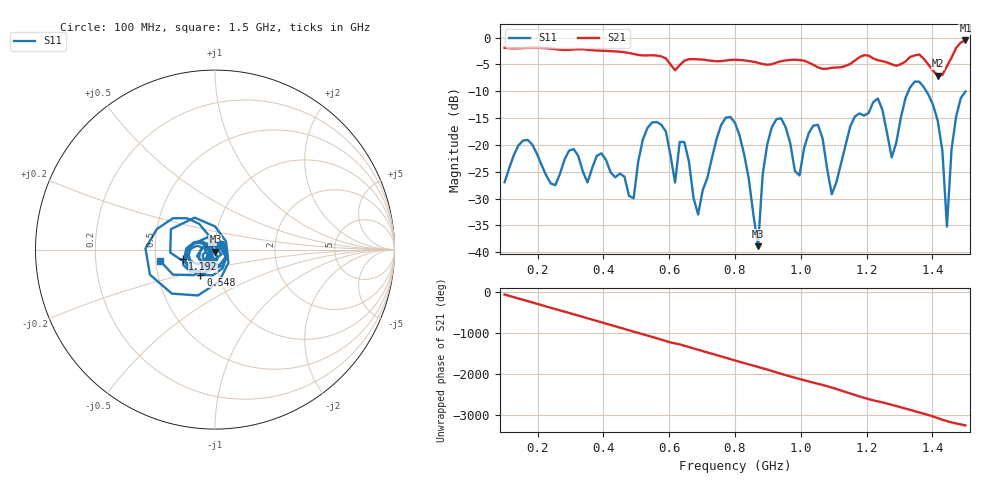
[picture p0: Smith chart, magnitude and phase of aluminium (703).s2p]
! NanoVNA-App
! Date: 2025-09-25 15:00:45
! Start: 100MHz Stop: 1,5GHz Points: 101
! S-Parameter data: F S11 S21 S12 S22
# Hz S RI R 50
!  Frequency  S11_Real  S11_Imag  S21_Real  S21_Imag  S12_Real  S12_Imag  S22_Real  S22_Imag
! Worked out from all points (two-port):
!   101 points, 100 MHz to 1.5 GHz, reference 50 ohm
!   highest |S21| = -0.55 dB at 1.5 GHz (marker M1); lowest = -7.1 dB at 1.416 GHz (marker M2)
!   |S21| within 3 dB of the highest: start of sweep to 576.8 MHz; 1.459 GHz to end of sweep (the widest 2 of 4)
!   lowest |S11| = -38.9 dB at 870 MHz (marker M3), VSWR 1.02, Z = 50.2 - j1.12 ohm
!   |S11| at or under -10 dB: start of sweep to 1.327 GHz; 1.381 GHz to end of sweep
!   S12 and S22 are empty: the file has one direction only
!   S11 on the Smith chart (normalised r, x): 100 MHz: 1.07, +0.06; 548 MHz: 0.82, -0.24; 1.192 GHz: 0.69, -0.07; 1.5 GHz: 0.53, -0.07
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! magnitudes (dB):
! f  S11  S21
! 100 MHz  -27.0  -1.9
! 156 MHz  -19.2  -2.0
! 338 MHz  -25.0  -2.2
! 492 MHz  -29.9  -3.1
! 548 MHz  -15.8  -3.3
! 576 MHz  -16.2  -3.5
! 618 MHz  -27.0  -6.1
! 646 MHz  -19.5  -4.3
! 688 MHz  -33.0  -4.1
! 800 MHz  -15.9  -4.1
! 870 MHz  -38.9  -4.7
! 912 MHz  -16.7  -5.0
! 996 MHz  -25.7  -4.2
! 1.038 GHz  -16.4  -5.1
! 1.094 GHz  -29.2  -5.6
! 1.192 GHz  -14.5  -3.3
! 1.276 GHz  -22.3  -5.0
! 1.346 GHz  -8.2  -3.3
! 1.416 GHz  -15.5  -7.1
! 1.444 GHz  -35.2  -5.4
! 1.458 GHz  -20.7  -3.7
! 1.5 GHz  -10.1  -0.6
